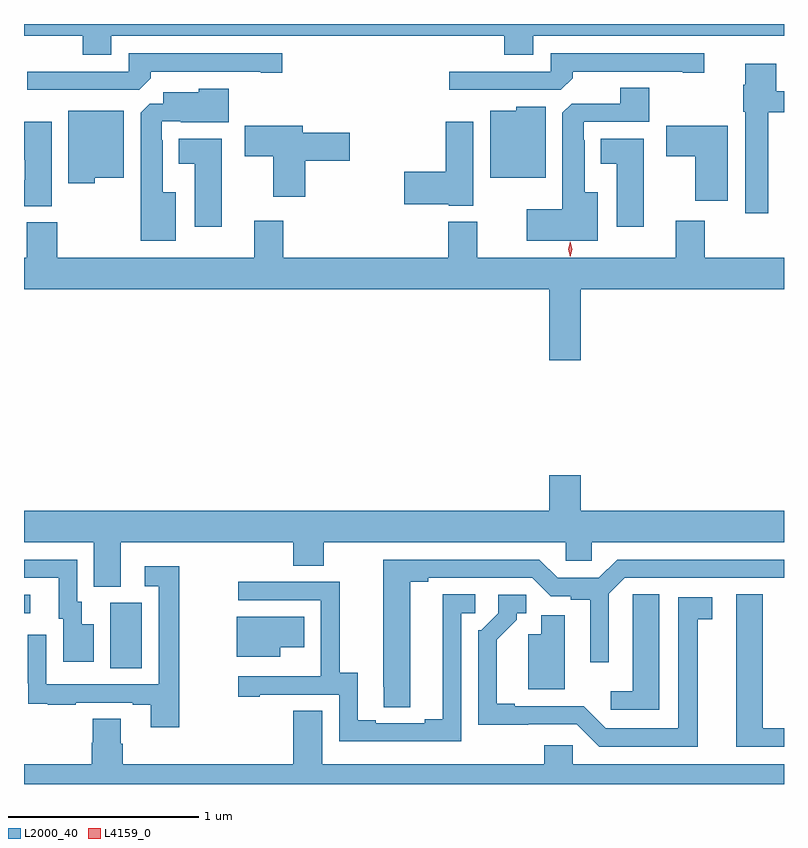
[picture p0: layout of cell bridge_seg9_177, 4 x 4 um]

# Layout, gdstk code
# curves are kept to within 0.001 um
import gdstk
lib = gdstk.Library(unit=1e-6, precision=1e-09)
def R(c, l, rs):  # rectangles x0, y0, x1, y1
    for r in rs: c.add(gdstk.rectangle(r[:2], r[2:], *l))
def P(c, l, *ps):  # polygons
    for p in ps: c.add(gdstk.Polygon(p, *l))
L2000_40 = (2000, 40)
L4159_0 = (4159, 0)

bridge_seg9_177 = lib.new_cell('bridge_seg9_177')
R(bridge_seg9_177, L2000_40, [(150.71,1231.72,150.874,1232.064), (150.255,1232.01,150.289,1232.106)])
P(bridge_seg9_177, L2000_40, [(150.715,1235.048),(152.783,1235.048),(152.783,1234.949),(152.935,1234.949),(152.935,1235.048),(154.255,1235.048),(154.255,1235.111),(150.255,1235.111),(150.255,1235.048),(150.563,1235.048),(150.563,1234.949),(150.715,1234.949)],
  [(150.923,1234.826),(150.923,1234.86),(151.502,1234.86),(151.502,1234.855),(151.615,1234.855),(151.615,1234.956),(150.807,1234.956),(150.807,1234.86),(150.273,1234.86),(150.273,1234.764),(150.861,1234.764)],
  [(153.143,1234.826),(153.143,1234.86),(153.722,1234.86),(153.722,1234.855),(153.835,1234.855),(153.835,1234.956),(153.027,1234.956),(153.027,1234.86),(152.493,1234.86),(152.493,1234.764),(153.081,1234.764)],
  [(154.171,1234.647),(154.255,1234.647),(154.255,1234.756),(154.213,1234.756),(154.213,1234.903),(154.052,1234.903),(154.052,1234.79),(154.04,1234.79),(154.04,1234.65),(154.052,1234.65),(154.052,1234.116),(154.171,1234.116)],
  [(153.274,1234.225),(153.205,1234.225),(153.205,1234.499),(153.201,1234.499),(153.201,1234.596),(153.545,1234.596),(153.545,1234.775),(153.392,1234.775),(153.392,1234.692),(153.138,1234.692),(153.089,1234.643),(153.089,1234.135),(152.901,1234.135),(152.901,1233.971),(153.274,1233.971)],
  [(151.054,1234.225),(150.985,1234.225),(150.985,1234.499),(150.981,1234.499),(150.981,1234.599),(151.081,1234.599),(151.081,1234.595),(151.333,1234.595),(151.333,1234.771),(151.176,1234.771),(151.176,1234.753),(150.989,1234.753),(150.989,1234.692),(150.918,1234.692),(150.869,1234.643),(150.869,1233.971),(151.054,1233.971)],
  [(153.001,1234.675),(152.847,1234.675),(152.847,1234.654),(152.708,1234.654),(152.708,1234.301),(153.001,1234.301)],
  [(150.627,1234.301),(150.781,1234.301),(150.781,1234.654),(150.488,1234.654),(150.488,1234.274),(150.627,1234.274)],
  [(150.4,1234.597),(150.255,1234.597),(150.255,1234.396),(150.259,1234.396),(150.259,1234.289),(150.255,1234.289),(150.255,1234.153),(150.4,1234.153)],
  [(152.62,1234.597),(152.474,1234.597),(152.474,1234.334),(152.256,1234.334),(152.256,1234.163),(152.49,1234.163),(152.49,1234.154),(152.62,1234.154)],
  [(151.736,1234.391),(151.969,1234.391),(151.969,1234.538),(151.723,1234.538),(151.723,1234.576),(151.416,1234.576),(151.416,1234.414),(151.568,1234.414),(151.568,1234.203),(151.736,1234.203)],
  [(153.958,1234.576),(153.636,1234.576),(153.636,1234.414),(153.788,1234.414),(153.788,1234.181),(153.958,1234.181)],
  [(153.517,1234.507),(153.29,1234.507),(153.29,1234.376),(153.374,1234.376),(153.374,1234.044),(153.517,1234.044)],
  [(151.297,1234.507),(151.07,1234.507),(151.07,1234.376),(151.154,1234.376),(151.154,1234.044),(151.297,1234.044)],
  [(153.184,1233.716),(154.255,1233.716),(154.255,1233.88),(153.839,1233.88),(153.839,1234.075),(153.686,1234.075),(153.686,1233.88),(152.641,1233.88),(152.641,1234.069),(152.489,1234.069),(152.489,1233.88),(151.619,1233.88),(151.619,1234.075),(151.466,1234.075),(151.466,1233.88),(150.429,1233.88),(150.429,1234.068),(150.269,1234.068),(150.269,1233.88),(150.255,1233.88),(150.255,1233.716),(153.02,1233.716),(153.02,1233.342),(153.184,1233.342)],
  [(150.763,1232.384),(151.673,1232.384),(151.673,1232.26),(151.833,1232.26),(151.833,1232.384),(153.105,1232.384),(153.105,1232.286),(153.243,1232.286),(153.243,1232.384),(154.255,1232.384),(154.255,1232.548),(153.184,1232.548),(153.184,1232.737),(153.02,1232.737),(153.02,1232.548),(150.255,1232.548),(150.255,1232.384),(150.623,1232.384),(150.623,1232.149),(150.763,1232.149)],
  [(152.287,1232.176),(152.383,1232.176),(152.383,1232.196),(152.931,1232.196),(153.027,1232.1),(153.132,1232.1),(153.132,1232.08),(153.236,1232.08),(153.236,1231.752),(153.333,1231.752),(153.333,1232.112),(153.417,1232.196),(154.255,1232.196),(154.255,1232.292),(153.377,1232.292),(153.281,1232.196),(153.063,1232.196),(152.967,1232.292),(152.147,1232.292),(152.148,1231.516),(152.287,1231.516)],
  [(150.622,1231.951),(150.559,1231.951),(150.559,1232.07),(150.534,1232.07),(150.534,1232.292),(150.255,1232.292),(150.255,1232.196),(150.437,1232.196),(150.437,1231.98),(150.461,1231.98),(150.461,1231.755),(150.622,1231.755)],
  [(151.072,1232.257),(150.891,1232.257),(150.891,1232.151),(150.963,1232.151),(150.963,1231.635),(150.372,1231.635),(150.372,1231.897),(150.276,1231.897),(150.276,1231.642),(150.277,1231.642),(150.277,1231.533),(150.379,1231.533),(150.379,1231.527),(150.527,1231.527),(150.527,1231.539),(150.827,1231.539),(150.827,1231.527),(150.923,1231.527),(150.923,1231.41),(151.072,1231.41)],
  [(152.556,1232.01),(152.629,1232.01),(152.629,1232.111),(152.459,1232.111),(152.459,1231.451),(152.363,1231.451),(152.363,1231.431),(152.107,1231.431),(152.107,1231.446),(152.011,1231.446),(152.011,1231.697),(151.917,1231.697),(151.917,1232.175),(151.383,1232.175),(151.383,1232.079),(151.818,1232.079),(151.818,1231.678),(151.817,1231.678),(151.817,1231.677),(151.383,1231.677),(151.383,1231.569),(151.495,1231.569),(151.495,1231.581),(151.914,1231.581),(151.914,1231.335),(152.556,1231.335)],
  [(153.598,1232.111),(153.459,1232.111),(153.459,1232.003),(153.458,1232.003),(153.458,1231.6),(153.342,1231.6),(153.342,1231.503),(153.598,1231.503)],
  [(154.255,1231.404),(154.144,1231.404),(154.144,1232.11),(154.004,1232.11),(154.004,1231.308),(154.255,1231.308)],
  [(153.802,1231.978),(153.877,1231.978),(153.877,1232.094),(153.698,1232.094),(153.698,1231.404),(153.318,1231.404),(153.201,1231.521),(152.839,1231.521),(152.839,1231.534),(152.743,1231.534),(152.743,1231.87),(152.848,1231.975),(152.848,1232.01),(152.898,1232.01),(152.898,1232.106),(152.751,1232.106),(152.751,1232.01),(152.661,1231.92),(152.646,1231.92),(152.646,1231.424),(153.165,1231.425),(153.282,1231.308),(153.802,1231.308)],
  [(153.1,1231.998),(152.978,1231.998),(152.978,1231.9),(152.909,1231.9),(152.909,1231.61),(153.1,1231.61)],
  [(151.603,1231.832),(151.729,1231.832),(151.729,1231.99),(151.376,1231.99),(151.376,1231.781),(151.603,1231.781)],
  [(154.255,1231.216),(153.144,1231.216),(153.144,1231.314),(152.993,1231.314),(152.993,1231.216),(151.825,1231.216),(151.825,1231.496),(151.673,1231.496),(151.673,1231.216),(150.776,1231.216),(150.776,1231.322),(150.763,1231.322),(150.763,1231.454),(150.616,1231.454),(150.616,1231.329),(150.611,1231.329),(150.611,1231.216),(150.255,1231.216),(150.255,1231.111),(154.255,1231.111)])
P(bridge_seg9_177, L4159_0, [(153.13,1233.885),(153.13,1233.885),(153.12,1233.925),(153.129,1233.966),(153.13,1233.966),(153.13,1233.966),(153.14,1233.926),(153.13,1233.885)])

lib.write_gds('bridge_seg9_177.gds')
